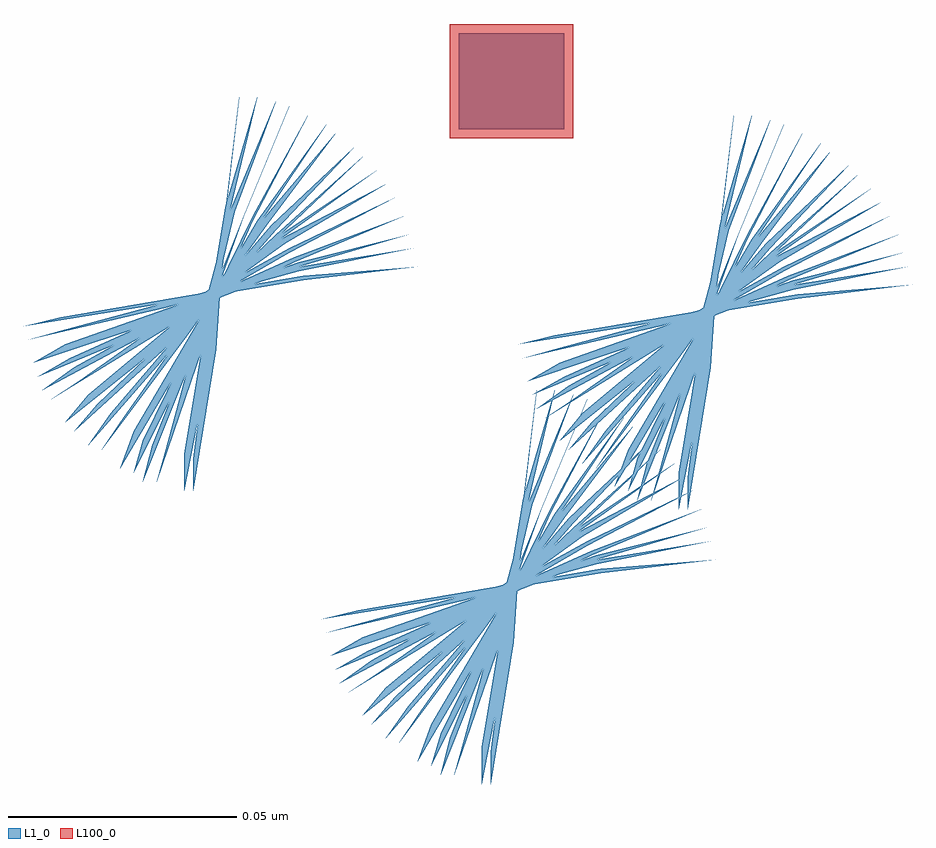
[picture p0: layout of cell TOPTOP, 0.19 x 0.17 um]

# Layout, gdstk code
import gdstk
lib = gdstk.Library(unit=1e-6, precision=1e-09)
def R(c, l, rs):  # rectangles x0, y0, x1, y1
    for r in rs: c.add(gdstk.rectangle(r[:2], r[2:], *l))
def P(c, l, *ps):  # polygons
    for p in ps: c.add(gdstk.Polygon(p, *l))
L1_0 = (1, 0)
L100_0 = (100, 0)

top = lib.new_cell('TOP')
P(top, L1_0, [(0.377,0.301),(0.382,0.307),(0.421,0.344),(0.44,0.361),(0.421,0.343),(0.4,0.322)],
  [(0.395,0.29),(0.397,0.297),(0.411,0.349),(0.421,0.373),(0.412,0.349),(0.405,0.319)],
  [(0.37,0.31),(0.377,0.315),(0.424,0.341),(0.447,0.352),(0.424,0.34),(0.398,0.325)],
  [(0.387,0.293),(0.39,0.301),(0.417,0.347),(0.432,0.368),(0.418,0.347),(0.403,0.32)],
  [(0.392,0.29),(0.394,0.298),(0.414,0.348),(0.424,0.372),(0.414,0.348),(0.404,0.32)],
  [(0.372,0.308),(0.378,0.312),(0.422,0.343),(0.445,0.355),(0.423,0.342),(0.398,0.324)],
  [(0.383,0.297),(0.387,0.303),(0.418,0.347),(0.434,0.366),(0.419,0.346),(0.401,0.321)],
  [(0.375,0.303),(0.38,0.309),(0.422,0.344),(0.443,0.358),(0.422,0.343),(0.4,0.323)],
  [(0.367,0.321),(0.374,0.323),(0.426,0.337),(0.451,0.341),(0.426,0.336),(0.397,0.328)],
  [(0.39,0.292),(0.392,0.299),(0.416,0.348),(0.428,0.37),(0.416,0.347),(0.404,0.32)],
  [(0.401,0.288),(0.401,0.296),(0.41,0.35),(0.417,0.374),(0.411,0.349),(0.407,0.319)],
  [(0.38,0.298),(0.385,0.305),(0.42,0.346),(0.438,0.363),(0.421,0.345),(0.401,0.322)],
  [(0.403,0.288),(0.403,0.295),(0.41,0.349),(0.413,0.374),(0.41,0.348),(0.408,0.319)],
  [(0.368,0.316),(0.375,0.32),(0.426,0.338),(0.45,0.344),(0.426,0.337),(0.398,0.326)],
  [(0.366,0.324),(0.374,0.326),(0.427,0.335),(0.452,0.337),(0.427,0.334),(0.397,0.329)],
  [(0.369,0.313),(0.376,0.317),(0.425,0.339),(0.449,0.348),(0.425,0.338),(0.398,0.325)])

toptop = lib.new_cell('TOPTOP')
R(toptop, L1_0, [(-0.13,0.371,-0.107,0.392)])
R(toptop, L100_0, [(-0.132,0.369,-0.105,0.394)])
toptop.add(gdstk.Reference(top, (-0.526,-0.06)))
toptop.add(gdstk.Reference(top, (-0.483,0)))
toptop.add(gdstk.Reference(top, (-0.591,0.004)))

lib.write_gds('TOPTOP.gds')
